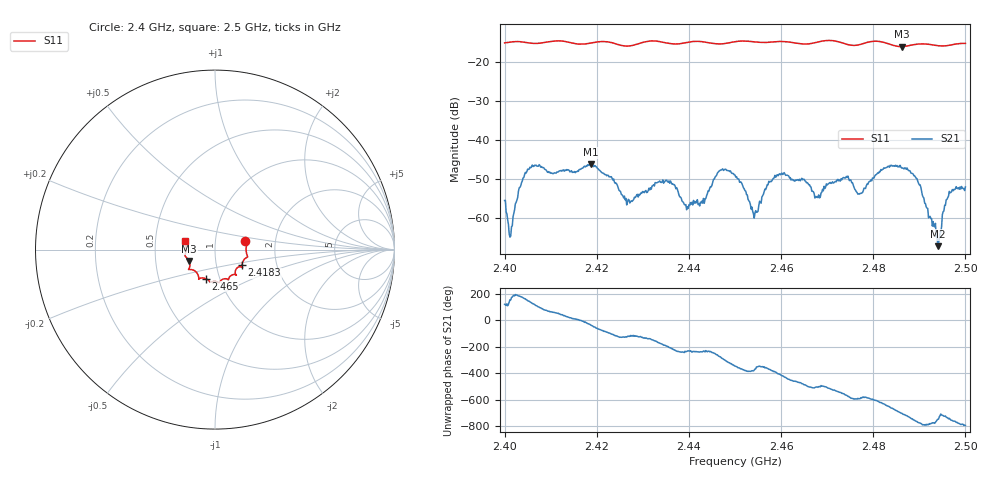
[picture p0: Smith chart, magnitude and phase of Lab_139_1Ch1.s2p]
# Hz S RI R 50
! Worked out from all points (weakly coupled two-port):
!   601 points, 2.4 GHz to 2.5 GHz, reference 50 ohm
!   highest |S21| = -46.31 dB at 2.4187 GHz (marker M1); lowest = -67.3 dB at 2.494 GHz (marker M2)
!   lowest |S11| = -16.1 dB at 2.4862 GHz (marker M3), VSWR 1.37, Z = 37.2 - j4.84 ohm
!   |S11| at or under -10 dB: start of sweep to end of sweep
!   S12 and S22 are empty: the file has one direction only
!   S11 on the Smith chart (normalised r, x): 2.4 GHz: 1.40, +0.14; 2.4183 GHz: 1.33, -0.24; 2.465 GHz: 0.86, -0.28; 2.5 GHz: 0.71, +0.07
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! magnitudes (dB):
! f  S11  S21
! 2.4 GHz  -15.1  -55.6
! 2.4012 GHz  -14.9  -65.0
! 2.4055 GHz  -15.2  -47.1
! 2.4167 GHz  -15.4  -47.4
! 2.4183 GHz  -15.2  -46.6
! 2.4187 GHz  -15.1  -46.3
! 2.427 GHz  -15.9  -55.4
! 2.4333 GHz  -14.7  -50.9
! 2.4397 GHz  -15.0  -57.2
! 2.45 GHz  -14.8  -49.1
! 2.4543 GHz  -14.9  -58.8
! 2.4592 GHz  -14.8  -49.0
! 2.465 GHz  -15.4  -50.1
! 2.4667 GHz  -15.2  -53.2
! 2.474 GHz  -15.4  -49.8
! 2.4772 GHz  -15.5  -53.8
! 2.4833 GHz  -15.3  -46.8
! 2.4862 GHz  -16.1  -47.3
! 2.4898 GHz  -15.4  -51.2
! 2.494 GHz  -15.8  -67.3
! 2.4963 GHz  -15.8  -54.5
! 2.5 GHz  -15.2  -52.1
